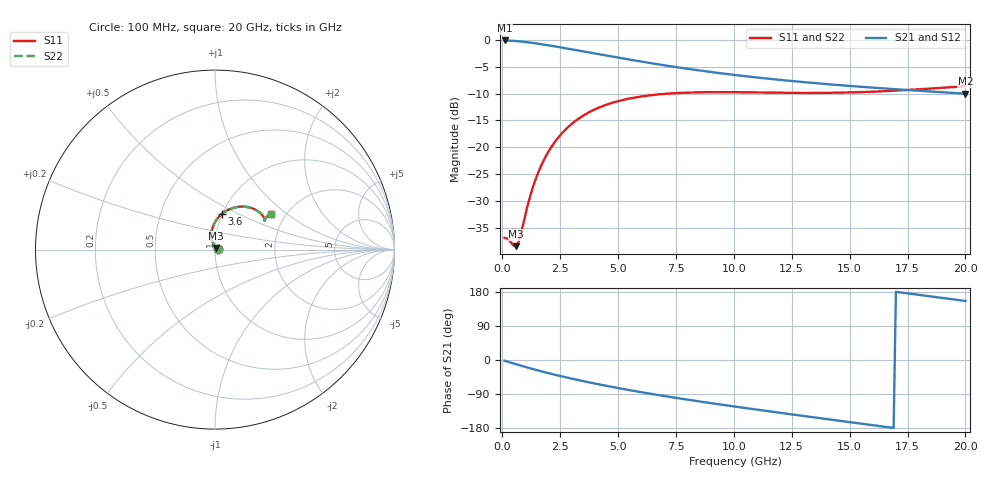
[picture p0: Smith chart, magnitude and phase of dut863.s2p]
! Touchstone file exported from HFSS 2024.1.0
!  File:  C:/UserFiles/LocalFiles/RDL_TSV_Batchsim/temp_RDL_TSV_863_1779925726.aedt
!  Generated:  08:03:04 AM May 28, 2026
!  Design:  RDL_TSV
!  Project:  temp_RDL_TSV_863_1779925726
!  Setup:  Setup1
!  Solution:  Sweep
! Variables:
!  dtsv = 11.75um
!  hbump = 3um
!  htsv = 83.65um
!  ldown = 288.21um
!  lrdl = 460.05um
!  p = 40
!  p1 = 53.51um
!  rhole = 10um
!  subl = 2704.83um
!  t = 450um
!  tdown = 4.26um
!  trdl = 4.7um
!  viad = 10um
!  wdown = 14um
!  wrdl = 15.67um
!  xbump = 18um
# GHz S MA R 50.000000
! Terminal data exported
! Port[1] = TM1_1_T1
! Port[2] = TM1_4_T1
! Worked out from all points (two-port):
!   200 points, 100 MHz to 20 GHz, reference 50 ohm
!   highest |S21| = -0.13 dB at 100 MHz (marker M1); lowest = -10.0 dB at 20 GHz (marker M2)
!   |S21| within 3 dB of the highest: start of sweep to 4.757 GHz
!   lowest |S11| = -38.4 dB at 600 MHz (marker M3), VSWR 1.02, Z = 50.7 + j0.976 ohm
!   |S11| at or under -10 dB: start of sweep to 7.22 GHz
!   |S22| runs from -38.4 to -8.7 dB; largest |S21 - S12| = 1.3e-14
!   S11 on the Smith chart (normalised r, x): 100 MHz: 1.03, +0.00; 3.6 GHz: 1.00, +0.41; 20 GHz: 1.68, +0.78
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0.1  0.01436 6.2  0.9851 -1.9  0.9851 -1.9  0.01436 6.2
! Gamma 0 0 0 0
! Port Impedance 50 0 50 0
0.3  0.01366 17.7  0.9816 -5.7  0.9816 -5.7  0.01366 17.7
0.5  0.0121 37.8  0.9758 -9.4  0.9758 -9.4  0.01211 37.7
0.6  0.01203 53.1  0.9721 -11.3  0.9721 -11.3  0.01204 53.0
0.7  0.01313 69.4  0.968 -13.1  0.968 -13.1  0.01313 69.4
0.8  0.01557 83.4  0.9634 -14.9  0.9634 -14.9  0.01557 83.3
1.1  0.02905 103.9  0.9474 -20.1  0.9474 -20.1  0.02903 103.8
1.3  0.04112 107.3  0.9351 -23.5  0.9351 -23.5  0.0411 107.3
1.5  0.05462 107.5  0.922 -26.9  0.922 -26.9  0.05459 107.5
1.8  0.07648 105.0  0.9012 -31.7  0.9012 -31.7  0.07643 105.0
2.1  0.0992 101.0  0.8797 -36.3  0.8797 -36.3  0.09914 101.0
2.5  0.1294 95.0  0.8506 -42.2  0.8506 -42.2  0.1293 95.0
3  0.1652 87.4  0.8146 -49.2  0.8146 -49.2  0.1651 87.4
3.5  0.1973 80.2  0.7794 -55.9  0.7794 -55.9  0.1972 80.2
3.6  0.2032 78.8  0.7725 -57.1  0.7725 -57.1  0.2031 78.8
5  0.2684 62.3  0.6827 -74.0  0.6827 -74.0  0.2683 62.2
6.8  0.3111 47.3  0.5878 -93.1  0.5878 -93.1  0.3109 47.3
8.4  0.3242 38.7  0.5223 -108.3  0.5223 -108.3  0.3242 38.7
10.1  0.3253 33.2  0.4687 -123.4  0.4687 -123.4  0.3253 33.1
13.4  0.3203 30.2  0.3969 -150.9  0.3969 -150.9  0.3203 30.0
16.7  0.334 32.0  0.35 -177.7  0.35 -177.7  0.3337 31.8
20  0.3694 32.8  0.3153 155.8  0.3153 155.8  0.3687 32.5
